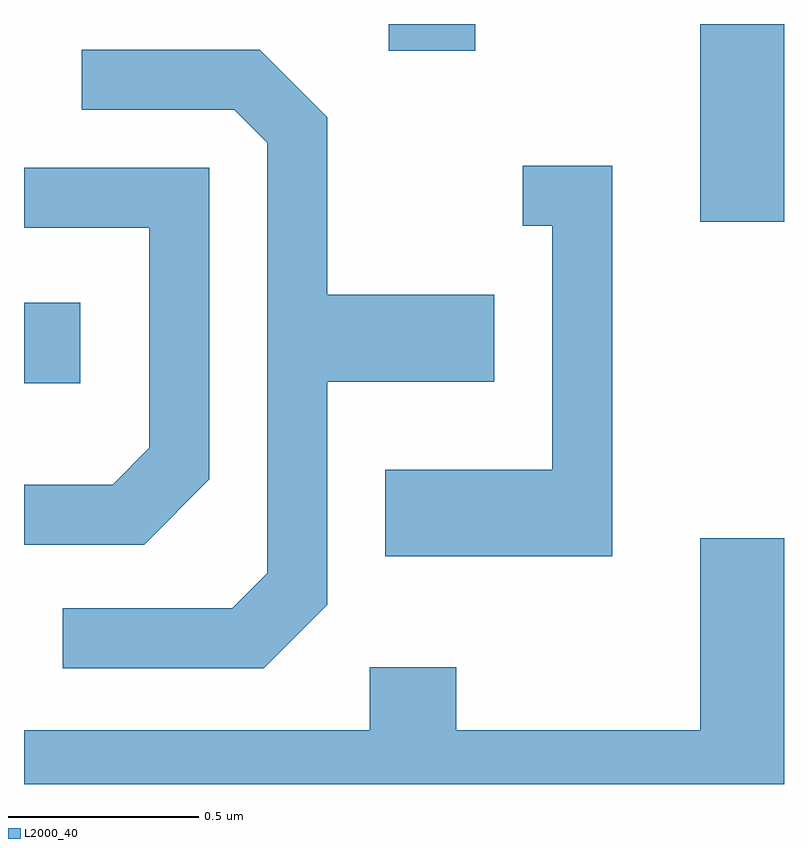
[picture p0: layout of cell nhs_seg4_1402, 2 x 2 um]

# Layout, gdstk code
import gdstk
lib = gdstk.Library(unit=1e-6, precision=1e-09)
def R(c, l, rs):  # rectangles x0, y0, x1, y1
    for r in rs: c.add(gdstk.rectangle(r[:2], r[2:], *l))
def P(c, l, *ps):  # polygons
    for p in ps: c.add(gdstk.Polygon(p, *l))
L2000_40 = (2000, 40)

nhs_seg4_1402 = lib.new_cell('nhs_seg4_1402')
R(nhs_seg4_1402, L2000_40, [(195.611,1287.036,195.759,1287.249), (197.391,1287.461,197.611,1287.982), (196.571,1287.911,196.799,1287.982)])
P(nhs_seg4_1402, L2000_40, [(196.409,1286.454),(196.409,1287.041),(196.849,1287.041),(196.849,1287.269),(196.409,1287.269),(196.409,1287.737),(196.232,1287.914),(195.763,1287.914),(195.763,1287.756),(196.164,1287.756),(196.251,1287.669),(196.251,1286.537),(196.159,1286.444),(195.713,1286.444),(195.713,1286.286),(196.242,1286.286)],
  [(197.159,1287.609),(196.923,1287.609),(196.923,1287.451),(197.001,1287.451),(197.001,1286.809),(196.561,1286.809),(196.561,1286.581),(197.159,1286.581)],
  [(196.099,1286.784),(196.099,1287.604),(195.611,1287.604),(195.611,1287.446),(195.941,1287.446),(195.941,1286.867),(195.844,1286.769),(195.611,1286.769),(195.611,1286.611),(195.927,1286.611)],
  [(197.611,1286.629),(197.391,1286.629),(197.391,1286.124),(196.749,1286.124),(196.749,1286.289),(196.521,1286.289),(196.521,1286.124),(195.611,1286.124),(195.611,1285.982),(197.611,1285.982)])

lib.write_gds('nhs_seg4_1402.gds')
